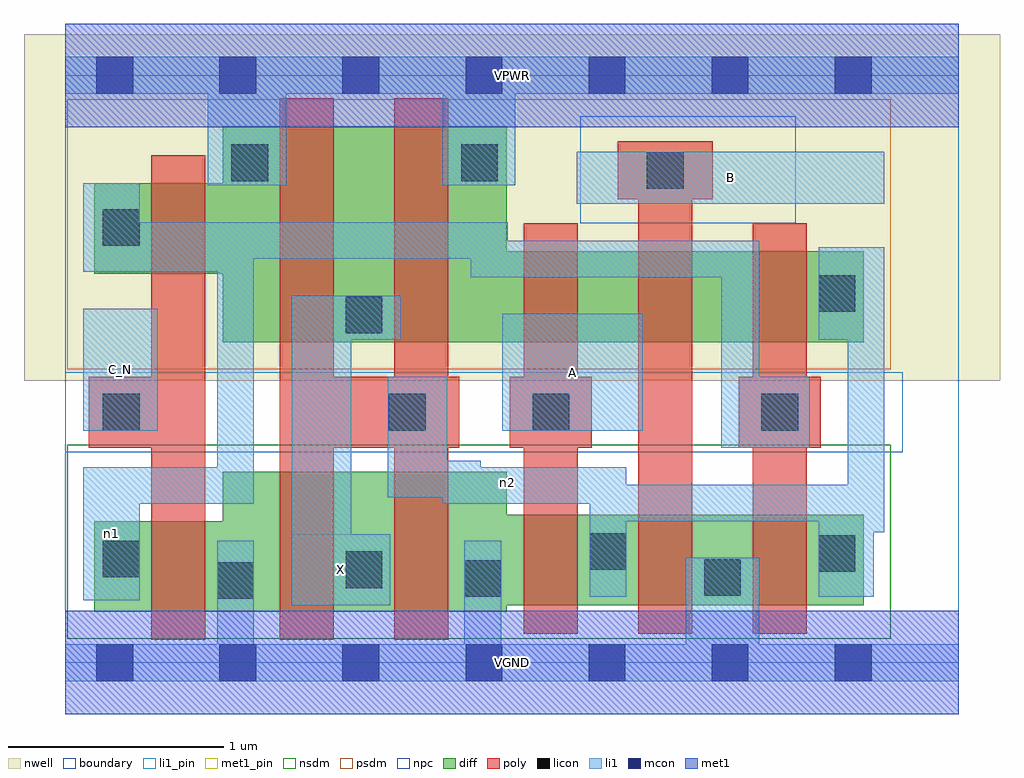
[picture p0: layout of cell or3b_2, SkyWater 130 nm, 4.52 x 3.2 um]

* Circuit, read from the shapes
.subckt or3b_2 A B C_N VGND VPWR X n1 n2
XM1 VGND C_N n1 VSUBS sky130_fd_pr__nfet_01v8 w=0.42 l=0.25
XM2 X n2 VGND VSUBS sky130_fd_pr__nfet_01v8 w=0.65 l=0.25 m=2
XM3 n2 A VGND VSUBS sky130_fd_pr__nfet_01v8 w=0.42 l=0.25
XM4 VGND B n2 VSUBS sky130_fd_pr__nfet_01v8 w=0.42 l=0.25
XM5 n2 n1 VGND VSUBS sky130_fd_pr__nfet_01v8 w=0.42 l=0.25
XM6 VPWR C_N n1 n3 sky130_fd_pr__pfet_01v8 w=0.42 l=0.25
XM7 X n2 VPWR n3 sky130_fd_pr__pfet_01v8 w=1 l=0.25 m=2
XM8 n4 A VPWR n3 sky130_fd_pr__pfet_01v8 w=0.42 l=0.25
XM9 n5 B n4 n3 sky130_fd_pr__pfet_01v8 w=0.42 l=0.25
XM10 n2 n1 n5 n3 sky130_fd_pr__pfet_01v8 w=0.42 l=0.25
.ends

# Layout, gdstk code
import gdstk
lib = gdstk.Library(unit=1e-6, precision=1e-09)
def R(c, l, rs):  # rectangles x0, y0, x1, y1
    for r in rs: c.add(gdstk.rectangle(r[:2], r[2:], *l))
def A(c, l, x, y, w, h, nx, ny, dx, dy):  # array of equal rectangles
    R(c, l, [(x+i*dx, y+j*dy, x+i*dx+w, y+j*dy+h) for i in range(nx) for j in range(ny)])
nwell = (64, 20)
diff = (65, 20)
poly = (66, 20)
licon = (66, 44)
li1_pin = (67, 16)
li1 = (67, 20)
mcon = (67, 44)
met1_pin = (68, 16)
met1 = (68, 20)
nsdm = (93, 44)
psdm = (94, 20)
npc = (95, 20)
boundary = (235, 4)

or3b_2 = lib.new_cell('or3b_2')
R(or3b_2, nwell, [(-0.19,1.305,4.33,2.91), (0,1.305,4.14,2.91)])
R(or3b_2, diff, [(0.135,0.235,2.045,0.655), (0.73,0.235,2.045,0.885), (0.135,0.265,3.7,0.655), (0.73,0.265,3.7,0.685), (0.73,1.485,3.7,1.905), (0.73,1.485,2.045,2.485), (0.135,1.8,2.045,2.22)])
R(or3b_2, poly, [(0.4,0.105,0.65,2.35), (0.995,0.105,1.245,2.615), (1.525,0.105,1.775,2.615), (2.125,0.135,2.375,2.035), (2.655,0.135,2.905,2.415), (3.185,0.135,3.435,2.035), (0.11,0.995,0.65,1.325), (0.995,0.995,1.825,1.325), (2.06,0.995,2.44,1.325), (3.12,0.995,3.5,1.325), (2.56,2.145,3,2.415)])
R(or3b_2, licon, [(0.705,0.295,0.875,0.465), (1.85,0.305,2.02,0.475), (2.96,0.31,3.13,0.48), (1.3,0.345,1.47,0.515), (0.175,0.395,0.345,0.565), (3.49,0.42,3.66,0.59), (2.43,0.43,2.6,0.6), (0.175,1.075,0.345,1.245), (1.5,1.075,1.67,1.245), (2.165,1.075,2.335,1.245), (3.225,1.075,3.395,1.245), (1.3,1.525,1.47,1.695), (3.49,1.625,3.66,1.795), (0.175,1.93,0.345,2.1), (2.695,2.195,2.865,2.365), (0.77,2.23,0.94,2.4), (1.835,2.23,2.005,2.4)])
R(or3b_2, li1_pin, [(1.05,0.265,1.505,0.595), (0.085,1.075,0.43,1.64), (2.025,1.075,2.675,1.615), (2.37,2.125,3.795,2.365)])
R(or3b_2, li1, [(0,-0.085,4.14,0.085), (0.705,-0.085,0.875,0.565), (1.85,-0.085,2.02,0.565), (2.875,-0.085,3.215,0.485), (1.05,0.265,1.325,1.7), (1.05,0.265,1.505,0.595), (0.085,0.29,0.345,0.905), (2.43,0.305,2.6,0.905), (3.49,0.305,3.745,0.825), (3.625,0.605,3.795,1.925), (2.43,0.655,3.795,0.825), (0.085,0.735,0.875,0.905), (0.705,0.735,0.875,2.04), (1.75,0.735,3.625,0.825), (1.495,0.765,2.6,0.905), (1.495,0.765,1.77,1.325), (1.495,0.765,1.925,0.935), (3.04,0.995,3.215,1.955), (3.04,0.995,3.45,1.325), (0.085,1.075,0.43,1.64), (2.025,1.075,2.675,1.615), (1.05,1.495,1.555,1.7), (3.49,1.495,3.795,1.925), (1.88,1.785,3.215,1.955), (0.085,1.81,0.345,2.22), (0.085,1.81,0.875,2.04), (0.085,1.87,2.05,2.04), (2.37,2.125,3.795,2.365), (0.66,2.21,1.025,2.805), (1.75,2.21,2.085,2.805), (0,2.635,4.14,2.805)])
A(or3b_2, mcon, 0.145, -0.085, 0.17, 0.17, 7, 2, 0.57, 2.72)
R(or3b_2, met1_pin, [(0,-0.24,4.14,0.24), (0,2.48,4.14,2.96)])
R(or3b_2, met1, [(0,-0.24,4.14,0.24), (0,2.48,4.14,2.96)])
R(or3b_2, nsdm, [(0.01,0.11,3.825,1.01)])
R(or3b_2, psdm, [(0.01,1.36,3.825,2.61)])
R(or3b_2, npc, [(0,0.975,3.88,1.345), (2.385,2.035,3.385,2.53)])
R(or3b_2, boundary, [(0,0,4.14,2.72)])
or3b_2.add(gdstk.Label('A', (2.35,1.345), layer=67, texttype=5))
or3b_2.add(gdstk.Label('B', (3.082,2.245), layer=67, texttype=5))
or3b_2.add(gdstk.Label('C_N', (0.257,1.357), layer=67, texttype=5))
or3b_2.add(gdstk.Label('X', (1.277,0.43), layer=67, texttype=5))
or3b_2.add(gdstk.Label('n2', (2.047,0.835), layer=67, texttype=5))
or3b_2.add(gdstk.Label('n1', (0.215,0.597), layer=67, texttype=5))
or3b_2.add(gdstk.Label('VPWR', (2.07,2.72), layer=68, texttype=5))
or3b_2.add(gdstk.Label('VGND', (2.07,0), layer=68, texttype=5))
or3b_2.add(gdstk.Label('A', (2.35,1.345), layer=67, texttype=16))
or3b_2.add(gdstk.Label('B', (3.082,2.245), layer=67, texttype=16))
or3b_2.add(gdstk.Label('C_N', (0.257,1.357), layer=67, texttype=16))
or3b_2.add(gdstk.Label('X', (1.277,0.43), layer=67, texttype=16))
or3b_2.add(gdstk.Label('VPWR', (2.07,2.72), layer=68, texttype=16))
or3b_2.add(gdstk.Label('VGND', (2.07,0), layer=68, texttype=16))

lib.write_gds('or3b_2.gds')
